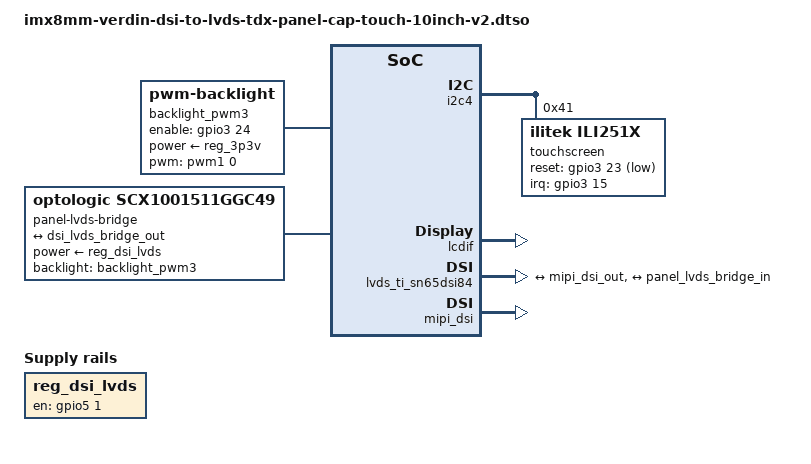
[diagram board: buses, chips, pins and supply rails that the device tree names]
// SPDX-License-Identifier: GPL-2.0-or-later OR MIT
/*
 * Copyright (c) Toradex
 *
 * Toradex DSI to LVDS Adapter on Verdin DSI_1 with Capacitive Touch Display
 * 10.1" V2 Used on Dahlia (X17) and Development Board (X48) that expose DSI_1
 * via a Samtec LSS-130 connector.
 *
 * https://developer.toradex.com/hardware/accessories/displays/capacitive-touch-display-101inch-lvds
 * https://www.toradex.com/accessories/capacitive-touch-display-10.1-inch-lvds
 * https://developer.toradex.com/hardware/accessories/add-ons/dsi-lvds-adapter
 * https://www.toradex.com/accessories/verdin-dsi-to-lvds-adapter
 */

/dts-v1/;
/plugin/;

#include <dt-bindings/gpio/gpio.h>
#include <dt-bindings/interrupt-controller/irq.h>

&{/} {
	backlight_pwm3: backlight-pwm3 {
		compatible = "pwm-backlight";
		pinctrl-names = "default";
		pinctrl-0 = <&pinctrl_i2s_2_d_out_dsi_1_bkl_en>;
		brightness-levels = <0 45 63 88 119 158 203 255>;
		default-brightness-level = <4>;
		/* Verdin I2S_2_D_OUT (SODIMM 46) - DSI_1_BKL_EN_LVDS */
		enable-gpios = <&gpio3 24 GPIO_ACTIVE_HIGH>;
		power-supply = <&reg_3p3v>;
		/* Verdin PWM_3_DSI (SODIMM 19) - PWM_3_DSI_LVDS */
		pwms = <&pwm1 0 6666667 0>;
	};

	panel-lvds-bridge {
		compatible = "optologic,scx1001511ggc49", "panel-lvds";
		backlight = <&backlight_pwm3>;
		data-mapping = "vesa-24";
		power-supply = <&reg_dsi_lvds>;
		height-mm = <136>;
		width-mm = <217>;

		panel-timing {
			clock-frequency = <70000000>;
			hactive = <1280>;
			hback-porch = <55>;
			hfront-porch = <55>;
			hsync-len = <45>;
			vactive = <800>;
			vback-porch = <5>;
			vfront-porch = <5>;
			vsync-len = <3>;
			de-active = <1>;
			hsync-active = <0>;
			vsync-active = <0>;
			pixelclk-active = <0>;
		};

		port {
			panel_lvds_bridge_in: endpoint {
				remote-endpoint = <&dsi_lvds_bridge_out>;
			};
		};
	};

	reg_dsi_lvds: regulator-dsi-lvds {
		compatible = "regulator-fixed";
		/* Verdin CTRL_SLEEP_MOCI# (SODIMM 256) */
		gpios = <&gpio5 1 GPIO_ACTIVE_HIGH>;
		enable-active-high;
		regulator-boot-on;
		regulator-name = "DSI_1_PWR_EN";
	};
};

&i2c4 {
	#address-cells = <1>;
	#size-cells = <0>;

	touchscreen@41 {
		compatible = "ilitek,ili251x";
		reg = <0x41>;
		pinctrl-names = "default";
		pinctrl-0 = <&pinctrl_gpio_9_dsi>, <&pinctrl_i2s_2_bclk_touch_reset>;
		/* Verdin GPIO_9_DSI (SODIMM 17) - TOUCH_INT# */
		/* Rising edge avoids spurious interrupts from the noisy falling edge. */
		interrupt-parent = <&gpio3>;
		interrupts = <15 IRQ_TYPE_EDGE_RISING>;
		/* Verdin I2S_2_BCLK (SODIMM 42) - TOUCH_RESET# */
		reset-gpios = <&gpio3 23 GPIO_ACTIVE_LOW>;
	};
};

&lcdif {
	status = "okay";
};

&lvds_ti_sn65dsi84 {
	vcc-supply = <&reg_dsi_lvds>;

	status = "okay";

	ports {
		#address-cells = <1>;
		#size-cells = <0>;

		port@0 {
			reg = <0>;

			dsi_lvds_bridge_in: endpoint {
				data-lanes = <1 2 3 4>;
				remote-endpoint = <&mipi_dsi_out>;
			};
		};

		port@2 {
			reg = <2>;

			dsi_lvds_bridge_out: endpoint {
				remote-endpoint = <&panel_lvds_bridge_in>;
			};
		};
	};
};

&mipi_dsi {
	samsung,esc-clock-frequency = <16000000>;

	status = "okay";
};

&mipi_dsi_out {
	remote-endpoint = <&dsi_lvds_bridge_in>;
};
